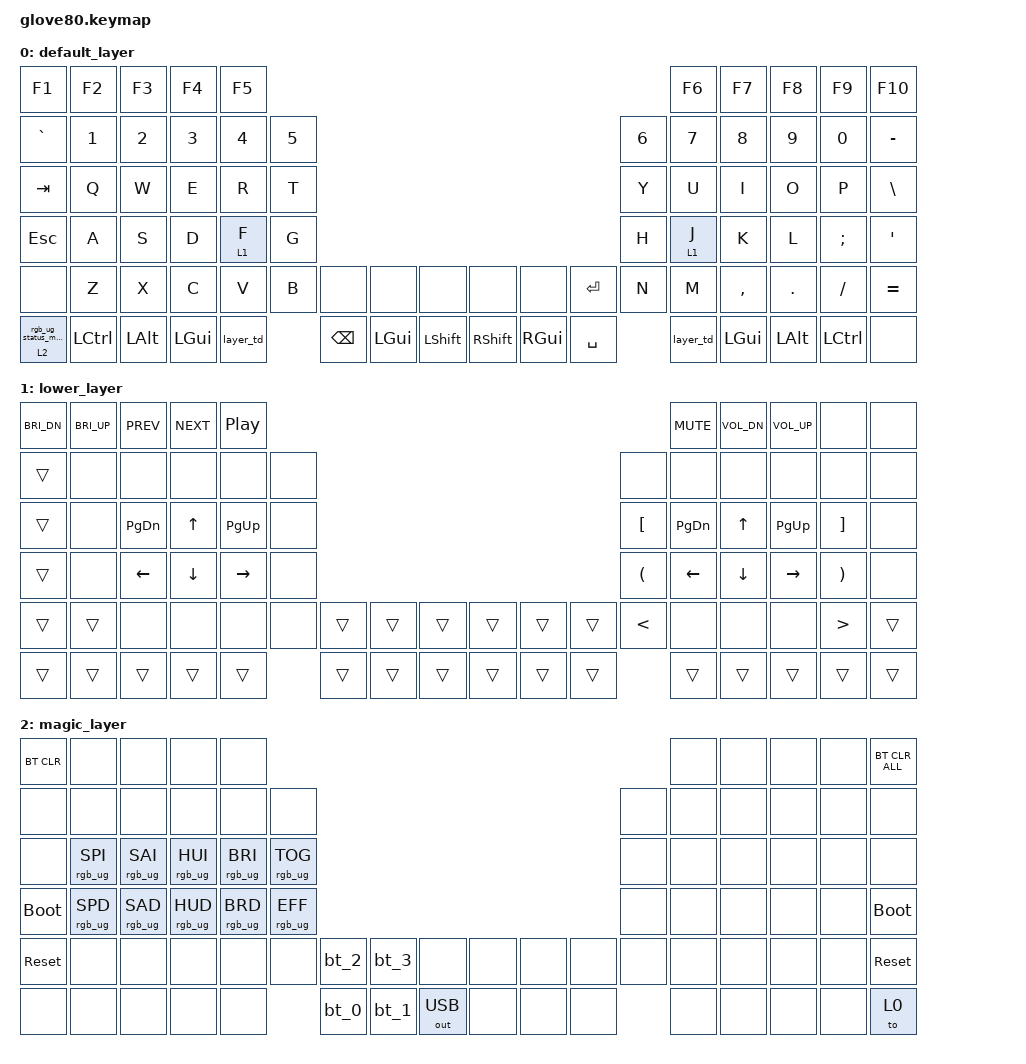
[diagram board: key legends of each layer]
/*
 * Copyright (c) 2020 The ZMK Contributors
 *
 * SPDX-License-Identifier: MIT
 */

#include <behaviors.dtsi>
#include <dt-bindings/zmk/bt.h>
#include <dt-bindings/zmk/keys.h>
#include <dt-bindings/zmk/outputs.h>
#include <dt-bindings/zmk/rgb.h>

#define HYPER LC(LS(LG(LALT)))

// layers

#define DEFAULT 0
#define LOWER 1
#define MAGIC 2
#define FACTORY_TEST 3

/ {
    behaviors {
        // For the "layer" key, it'd nice to be able to use it as either a shift or a toggle.
        // Configure it as a tap dance, so the first tap (or hold) is a &mo and the second tap is a &to

        layer_td: tap_dance_0 {
            compatible = "zmk,behavior-tap-dance";
            label = "LAYER_TAP_DANCE";
            #binding-cells = <0>;
            tapping-term-ms = <200>;
            bindings = <&mo 1>, <&to 1>;
        };

        magic: magic_hold_tap {
            compatible = "zmk,behavior-hold-tap";
            label = "MAGIC_HOLD_TAP";
            #binding-cells = <2>;
            flavor = "tap-preferred";
            tapping-term-ms = <200>;
            bindings = <&mo>, <&rgb_ug_status_macro>;
        };

        hml: hml {
            compatible = "zmk,behavior-hold-tap";
            label = "HML";
            bindings = <&kp>, <&kp>;

            #binding-cells = <2>;
            tapping-term-ms = <280>;
            flavor = "balanced";
            hold-trigger-key-positions = <5 6 9 8 5 6 7 8 9 16 17 18 19 20 21 28 29 30 31 32 33 40 41 42 43 44 45 58 59 60 61 62 63 75 76 77 78 79>;
            hold-trigger-on-release;
            quick-tap-ms = <175>;
            require-prior-idle-ms = <150>;
        };

        hmr: hmr {
            compatible = "zmk,behavior-hold-tap";
            label = "HMR";
            bindings = <&kp>, <&kp>;

            #binding-cells = <2>;
            hold-trigger-key-positions = <0 1 2 3 4 10 11 12 13 14 15 22 23 24 25 26 27 34 35 36 37 38 39 46 47 48 49 50 51 64 65 66 67 68>;
            hold-trigger-on-release;
            tapping-term-ms = <280>;
            flavor = "balanced";
            quick-tap-ms = <175>;
            require-prior-idle-ms = <150>;
        };

        hml_layer: hml_layer {
            compatible = "zmk,behavior-hold-tap";
            label = "HML_LAYER";
            #binding-cells = <2>;
            tapping-term-ms = <280>;
            flavor = "balanced";
            hold-trigger-key-positions = <5 6 9 8 5 6 7 8 9 16 17 18 19 20 21 28 29 30 31 32 33 40 41 42 43 44 45 58 59 60 61 62 63 75 76 77 78 79>;
            hold-trigger-on-release;
            quick-tap-ms = <175>;
            require-prior-idle-ms = <150>;
            bindings = <&mo>, <&kp>;
        };

        hmr_layer: hmr_layer {
            compatible = "zmk,behavior-hold-tap";
            label = "HMR_LAYER";
            #binding-cells = <2>;
            tapping-term-ms = <280>;
            flavor = "balanced";
            hold-trigger-on-release;
            quick-tap-ms = <175>;
            require-prior-idle-ms = <150>;
            bindings = <&mo>, <&kp>;

            hold-trigger-key-positions = <1 2 3 4 11 12 13 14 15 23 24 25 26 27 35 36 37 38 39 47 48 49 50 65 66 67 68 0 10 22 34 46 64 51>;
        };
    };

    macros {
        rgb_ug_status_macro: rgb_ug_status_macro_0 {
            label = "RGB_UG_STATUS";
            compatible = "zmk,behavior-macro";
            #binding-cells = <0>;
            bindings = <&rgb_ug RGB_STATUS>;
        };

        bt_0: bt_profile_macro_0 {
            label = "BT_0";
            compatible = "zmk,behavior-macro";
            #binding-cells = <0>;
            bindings = <&out OUT_BLE &bt BT_SEL 0>;
        };

        bt_1: bt_profile_macro_1 {
            label = "BT_1";
            compatible = "zmk,behavior-macro";
            #binding-cells = <0>;
            bindings = <&out OUT_BLE &bt BT_SEL 1>;
        };

        bt_2: bt_profile_macro_2 {
            label = "BT_2";
            compatible = "zmk,behavior-macro";
            #binding-cells = <0>;
            bindings = <&out OUT_BLE &bt BT_SEL 2>;
        };

        bt_3: bt_profile_macro_3 {
            label = "BT_3";
            compatible = "zmk,behavior-macro";
            #binding-cells = <0>;
            bindings = <&out OUT_BLE &bt BT_SEL 3>;
        };
    };

    keymap {
        compatible = "zmk,keymap";

        default_layer {
            // ---------------------------------------------------------------------------------------------------------------------------------
            // |  F1   |  F2 |  F3 |  F4  |  F5  |                                                               |  F6   |  F7   |  F8  |   F9  |  F10 |
            // |  =    |  1  |  2  |  3   |  4   |  5   |                                                 |  6   |   7   |   8   |  9   |   0   |   -  |
            // |  TAB  |  Q  |  W  |  E   |  R   |  T   |                                                 |  Y   |   U   |   I   |  O   |   P   |   \  |
            // |  ESC  |  A  |  S  |  D   |  F   |  G   |                                                 |  H   |   J   |   K   |  L   |   ;   |   '  |
            // |   `   |  Z  |  X  |  C   |  V   |  B   | LSHFT | LCTRL | LOWER | | LGUI  | RCTRL | RSHFT |  N   |   M   |   ,   |  .   |   /   | PGUP |
            // | MAGIC | HOME| END | LEFT | RIGHT|      | BSPC  | DEL   | LALT  | | RALT  | RET   | SPACE |      |  UP   | DOWN  |  [   |   ]   | PGDN |

            bindings = <
&kp F1      &kp F2     &kp F3        &kp F4    &kp F5                                                                                              &kp F6          &kp F7     &kp F8    &kp F9     &kp F10
&kp GRAVE   &kp N1     &kp N2        &kp N3    &kp N4          &kp N5                                                                      &kp N6  &kp N7          &kp N8     &kp N9    &kp N0     &kp MINUS
&kp TAB     &kp Q      &kp W         &kp E     &kp R           &kp T                                                                       &kp Y   &kp U           &kp I      &kp O     &kp P      &kp BSLH
&kp ESCAPE  &kp A      &kp S         &kp D     &hml_layer 1 F  &kp G                                                                       &kp H   &hmr_layer 1 J  &kp K      &kp L     &kp SEMI   &kp SQT
&none       &kp Z      &kp X         &kp C     &kp V           &kp B   &none          &none     &none      &none      &none     &kp ENTER  &kp N   &kp M           &kp COMMA  &kp DOT   &kp FSLH   &kp EQUAL
&magic 2 0  &kp LCTRL  &kp LEFT_ALT  &kp LGUI  &layer_td               &kp BACKSPACE  &kp LGUI  &kp LSHFT  &kp RSHFT  &kp RGUI  &kp SPACE          &layer_td       &kp LGUI   &kp LALT  &kp LCTRL  &none
            >;
        };

        lower_layer {
            bindings = <
&kp C_BRI_DN  &kp C_BRI_UP  &kp C_PREV     &kp C_NEXT  &kp C_PP                                                                                  &kp C_MUTE      &kp C_VOL_DN  &kp C_VOL_UP  &none                  &none
&trans        &none         &none          &none       &none        &none                                                  &none                 &none           &none         &none         &none                  &none
&trans        &none         &kp PAGE_DOWN  &kp UP      &kp PAGE_UP  &none                                                  &kp LEFT_BRACKET      &kp PAGE_DOWN   &kp UP_ARROW  &kp PAGE_UP   &kp RIGHT_BRACKET      &none
&trans        &none         &kp LEFT       &kp DOWN    &kp RIGHT    &none                                                  &kp LEFT_PARENTHESIS  &kp LEFT_ARROW  &kp DOWN      &kp RIGHT     &kp RIGHT_PARENTHESIS  &none
&trans        &trans        &none          &none       &none        &none  &trans  &trans  &trans  &trans  &trans  &trans  &kp LESS_THAN         &none           &none         &none         &kp GREATER_THAN       &trans
&trans        &trans        &trans         &trans      &trans              &trans  &trans  &trans  &trans  &trans  &trans                        &trans          &trans        &trans        &trans                 &trans
            >;
        };

        magic_layer {
            bindings = <
&bt BT_CLR   &none            &none            &none            &none                                                                                     &none  &none  &none  &none  &bt BT_CLR_ALL
&none        &none            &none            &none            &none            &none                                                             &none  &none  &none  &none  &none  &none
&none        &rgb_ug RGB_SPI  &rgb_ug RGB_SAI  &rgb_ug RGB_HUI  &rgb_ug RGB_BRI  &rgb_ug RGB_TOG                                                   &none  &none  &none  &none  &none  &none
&bootloader  &rgb_ug RGB_SPD  &rgb_ug RGB_SAD  &rgb_ug RGB_HUD  &rgb_ug RGB_BRD  &rgb_ug RGB_EFF                                                   &none  &none  &none  &none  &none  &bootloader
&sys_reset   &none            &none            &none            &none            &none            &bt_2  &bt_3  &none         &none  &none  &none  &none  &none  &none  &none  &none  &sys_reset
&none        &none            &none            &none            &none                             &bt_0  &bt_1  &out OUT_USB  &none  &none  &none         &none  &none  &none  &none  &to 0
            >;
        };
    };
};
